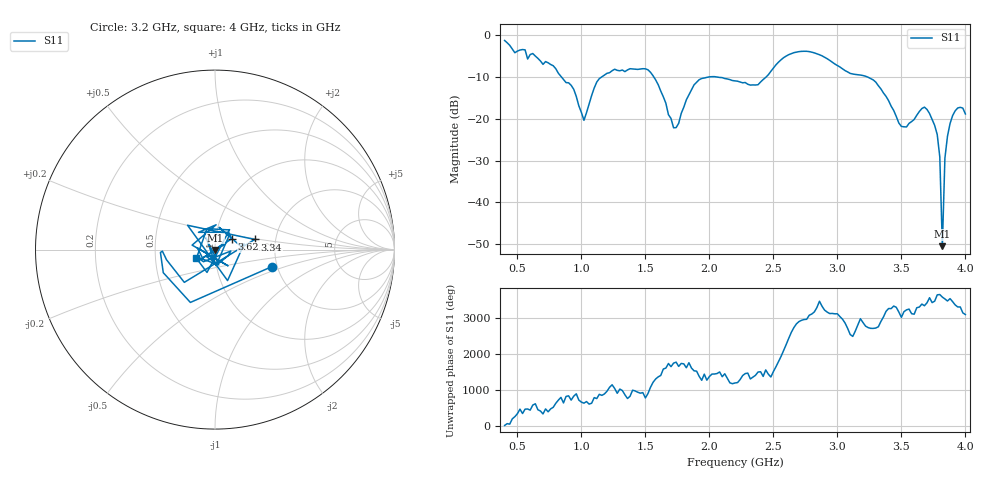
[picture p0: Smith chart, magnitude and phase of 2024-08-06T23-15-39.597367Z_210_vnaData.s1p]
!Created with skrf (http://scikit-rf.org).
# Hz S RI R 50.0
!freq ReS11 ImS11
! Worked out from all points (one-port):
!   181 points, 400 MHz to 4 GHz, reference 50 ohm
!   lowest |S11| = -50.5 dB at 3.82 GHz (marker M1), VSWR 1.01, Z = 50.2 - j0.167 ohm
!   |S11| at or under -10 dB: 1.567 GHz to 1.987 GHz (420.4 MHz wide, 23.7 % of centre); 2.067 GHz to 2.441 GHz (374.8 MHz wide, 16.6 % of centre); 3.239 GHz to end of sweep (the widest 3 of 4)
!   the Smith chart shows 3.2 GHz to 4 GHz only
!   S11 on the Smith chart (normalised r, x): 3.2 GHz: 1.87, -0.40; 3.34 GHz: 1.56, +0.19; 3.62 GHz: 1.20, +0.15; 4 GHz: 0.81, -0.08
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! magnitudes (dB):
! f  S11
! 400 MHz  -1.2
! 860 MHz  -10.6
! 940 MHz  -12.9
! 1.02 GHz  -20.3
! 1.12 GHz  -11.2
! 1.3 GHz  -8.5
! 1.52 GHz  -8.2
! 1.6 GHz  -11.8
! 1.72 GHz  -22.1
! 1.76 GHz  -21.0
! 1.92 GHz  -10.6
! 2.2 GHz  -10.9
! 2.38 GHz  -11.8
! 2.66 GHz  -4.1
! 3.1 GHz  -9.1
! 3.2 GHz  -9.6
! 3.34 GHz  -12.8
! 3.5 GHz  -21.8
! 3.56 GHz  -21.1
! 3.62 GHz  -19.1
! 3.7 GHz  -17.7
! 3.78 GHz  -23.7
! 3.8 GHz  -29.1
! 3.82 GHz  -50.5
! 3.84 GHz  -29.4
! 3.86 GHz  -24.2
! 3.92 GHz  -18.1
! 4 GHz  -18.8
